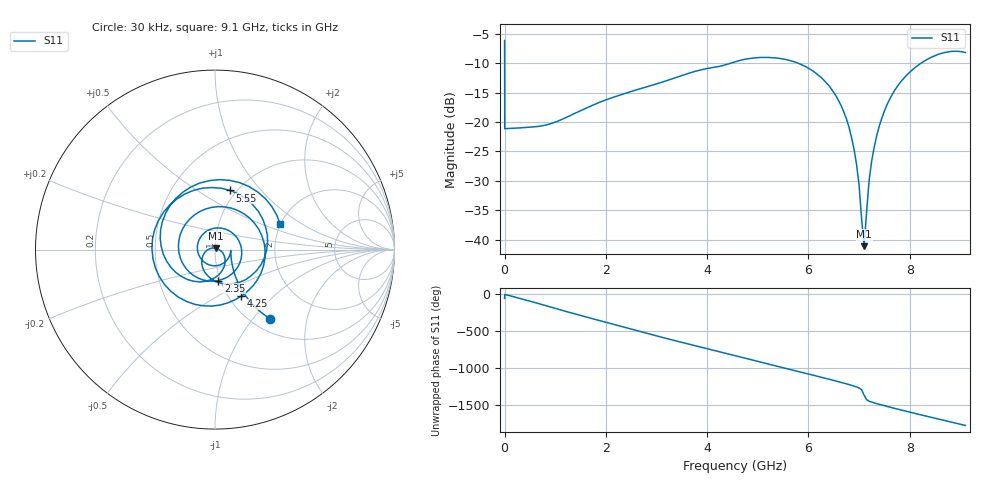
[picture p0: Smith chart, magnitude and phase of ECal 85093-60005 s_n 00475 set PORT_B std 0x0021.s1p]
!Created with skrf (http://scikit-rf.org).
# Hz S RI R 50.0
!freq ReS11 ImS11
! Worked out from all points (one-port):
!   252 points, 30 kHz to 9.1 GHz, reference 50 ohm
!   lowest |S11| = -41.1 dB at 7.1 GHz (marker M1), VSWR 1.02, Z = 50.3 + j0.836 ohm
!   |S11| at or under -10 dB: 53.16 kHz to 4.463 GHz (4.463 GHz wide, 200 % of centre); 5.798 GHz to 8.223 GHz (2.425 GHz wide, 34.6 % of centre)
!   S11 on the Smith chart (normalised r, x): 30 kHz: 1.21, -1.23; 2.35 GHz: 0.98, -0.35; 4.25 GHz: 1.15, -0.65; 5.55 GHz: 0.93, +0.70; 9.1 GHz: 2.00, +0.66
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30000  0.3084 -0.3856
125000  0.1052 -0.1225
350000  0.0898 -0.0449
2750000  0.0874 -0.00641
5.5e8  -0.0185 -0.0887
1.15e9  -0.0814 0.068
1.85e9  0.1439 0.0217
2.3e9  0.0457 -0.1641
2.35e9  0.0188 -0.1724
2.9e9  -0.2038 0.0183
3.45e9  0.0543 0.2378
3.85e9  0.2736 0.037
4.25e9  0.1472 -0.2589
4.6e9  -0.1598 -0.2882
5.05e9  -0.3363 0.1106
5.55e9  0.0848 0.3296
5.7e9  0.2103 0.2502
6e9  0.2872 -0.00591
6.3e9  0.1391 -0.181
6.85e9  -0.0669 -0.0326
7e9  -0.0288 0.005
7.1e9  0.00285 0.00832
7.2e9  0.0317 -0.00612
7.35e9  0.056 -0.0529
8e9  -0.2459 -0.0988
8.3e9  -0.2934 0.1553
8.65e9  -0.0307 0.3844
9.1e9  0.364 0.1402
